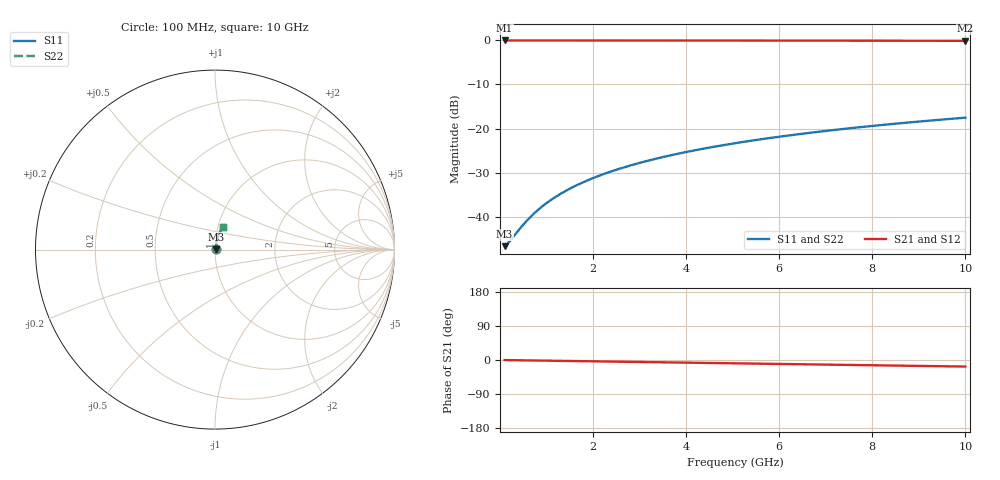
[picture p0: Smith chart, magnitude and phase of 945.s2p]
# Hz S RI R 50.00
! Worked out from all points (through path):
!   100 points, 100 MHz to 10 GHz, reference 50 ohm
!   highest |S21| = -0.04 dB at 100 MHz (marker M1); lowest = -0.1 dB at 10 GHz (marker M2)
!   group delay of S21, straight-line fit = 4.81 ps
!   lowest |S11| = -46.6 dB at 100 MHz (marker M3), VSWR 1.01, Z = 50.4 + j0.136 ohm
!   |S11| at or under -10 dB: start of sweep to end of sweep
!   |S22| runs from -46.6 to -17.5 dB; largest |S21 - S12| = 0
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1e8  0.00447 0.00134  0.9955 -0.00302  0.9955 -0.00302  0.00447 0.00134
2e8  0.00451 0.00269  0.9955 -0.00605  0.9955 -0.00605  0.00451 0.00269
5e8  0.00465 0.00671  0.9953 -0.0151  0.9953 -0.0151  0.00465 0.00671
6e8  0.0047 0.00805  0.9952 -0.0181  0.9952 -0.0181  0.0047 0.00805
7e8  0.00477 0.0094  0.9952 -0.0212  0.9952 -0.0212  0.00477 0.0094
9e8  0.00492 0.0121  0.995 -0.0272  0.995 -0.0272  0.00492 0.0121
1.1e9  0.0051 0.0148  0.9947 -0.0332  0.9947 -0.0332  0.0051 0.0148
1.3e9  0.00531 0.0174  0.9944 -0.0393  0.9944 -0.0393  0.00531 0.0174
1.5e9  0.00555 0.0201  0.9941 -0.0453  0.9941 -0.0453  0.00555 0.0201
1.8e9  0.00597 0.0241  0.9935 -0.0544  0.9935 -0.0544  0.00597 0.0241
2.1e9  0.00647 0.0281  0.9929 -0.0634  0.9929 -0.0634  0.00647 0.0281
2.5e9  0.00724 0.0334  0.9918 -0.0754  0.9918 -0.0754  0.00724 0.0334
2.9e9  0.00813 0.0387  0.9906 -0.0875  0.9906 -0.0875  0.00813 0.0387
3.4e9  0.00943 0.0453  0.9889 -0.1024  0.9889 -0.1024  0.00943 0.0453
3.8e9  0.0106 0.0505  0.9873 -0.1144  0.9873 -0.1144  0.0106 0.0505
4.2e9  0.0119 0.0557  0.9855 -0.1263  0.9855 -0.1263  0.0119 0.0557
5.1e9  0.0153 0.0672  0.9809 -0.153  0.9809 -0.153  0.0153 0.0672
5.9e9  0.0188 0.0773  0.9761 -0.1765  0.9761 -0.1765  0.0188 0.0773
6.7e9  0.0229 0.0872  0.9707 -0.1999  0.9707 -0.1999  0.0229 0.0872
7.5e9  0.0273 0.0969  0.9645 -0.223  0.9645 -0.223  0.0273 0.0969
8.4e9  0.0329 0.1074  0.9569 -0.2487  0.9569 -0.2487  0.0329 0.1074
1e10  0.0442 0.1254  0.9414 -0.2936  0.9414 -0.2936  0.0442 0.1254
